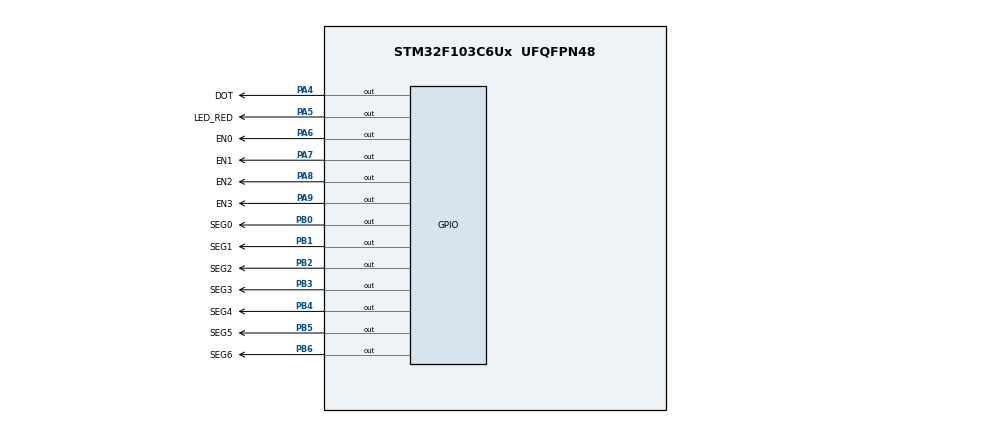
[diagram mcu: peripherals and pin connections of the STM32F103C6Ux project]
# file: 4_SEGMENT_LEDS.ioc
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Mcu.Family=STM32F1
Mcu.Name=STM32F103C6Ux
Mcu.Package=UFQFPN48
NVIC.PriorityGroup=NVIC_PRIORITYGROUP_4
NVIC.TIM2_IRQn=true\:0\:0\:false\:false\:true\:true\:true
PA4.GPIO_Label=DOT
PA4.Signal=GPIO_Output
PA5.GPIO_Label=LED_RED
PA5.Signal=GPIO_Output
PA6.GPIO_Label=EN0
PA6.Signal=GPIO_Output
PA7.GPIO_Label=EN1
PA7.Signal=GPIO_Output
PA8.GPIO_Label=EN2
PA8.Signal=GPIO_Output
PA9.GPIO_Label=EN3
PA9.Signal=GPIO_Output
PB0.GPIO_Label=SEG0
PB0.Signal=GPIO_Output
PB1.GPIO_Label=SEG1
PB1.Signal=GPIO_Output
PB2.GPIO_Label=SEG2
PB2.Signal=GPIO_Output
PB3.GPIO_Label=SEG3
PB3.Signal=GPIO_Output
PB4.GPIO_Label=SEG4
PB4.Signal=GPIO_Output
PB5.GPIO_Label=SEG5
PB5.Signal=GPIO_Output
PB6.GPIO_Label=SEG6
PB6.Signal=GPIO_Output
ProjectManager.HeapSize=0x200
ProjectManager.StackSize=0x400
ProjectManager.TargetToolchain=STM32CubeIDE
RCC.APB1Freq_Value=8000000
RCC.APB2Freq_Value=8000000
TIM2.Period=9
TIM2.Prescaler=7999
VP_SYS_VS_ND.Mode=No_Debug
VP_TIM2_VS_ClockSourceINT.Mode=Internal
board=custom

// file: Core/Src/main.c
/* USER CODE BEGIN Header */
/**
  ******************************************************************************
  * @file           : main.c
  * @brief          : Main program body
  ******************************************************************************
  * @attention
  *
  * <h2><center>&copy; Copyright (c) 2026 STMicroelectronics.
  * All rights reserved.</center></h2>
  *
  * This software component is licensed by ST under BSD 3-Clause license,
  * the "License"; You may not use this file except in compliance with the
  * License. You may obtain a copy of the License at:
  *                        opensource.org/licenses/BSD-3-Clause
  *
  ******************************************************************************
  */
/* USER CODE END Header */
#include "main.h"

TIM_HandleTypeDef htim2;

/* USER CODE BEGIN PV */
int timer_seg_counter = 50;  // 50 x 10ms = 500ms quét LED
int timer_dot_counter = 100; // 100 x 10ms = 1000ms chớp tắt DOT
int led_status = 0;
/* USER CODE END PV */

void SystemClock_Config(void);
static void MX_GPIO_Init(void);
static void MX_TIM2_Init(void);
/* USER CODE BEGIN PFP */
void display7SEG(int num);
/* USER CODE END PFP */

int main(void)
{

  /* MCU Configuration--------------------------------------------------------*/

  /* Reset of all peripherals, Initializes the Flash interface and the Systick. */
  HAL_Init();

  /* Configure the system clock */
  SystemClock_Config();

  /* Initialize all configured peripherals */
  MX_GPIO_Init();
  MX_TIM2_Init();
  /* USER CODE BEGIN 2 */
  // Turn off all four LEDs before the timer runs (pull up to logic level 1 to cut off the PNP transistors).
  HAL_GPIO_WritePin(GPIOA, EN0_Pin | EN1_Pin | EN2_Pin | EN3_Pin, GPIO_PIN_SET);

  HAL_TIM_Base_Start_IT(&htim2);
  /* USER CODE END 2 */

  /* Infinite loop */
  while (1)
  {

  }
}

void SystemClock_Config(void)
{
  RCC_OscInitTypeDef RCC_OscInitStruct = {0};
  RCC_ClkInitTypeDef RCC_ClkInitStruct = {0};

  /** Initializes the RCC Oscillators according to the specified parameters
  * in the RCC_OscInitTypeDef structure.
  */
  RCC_OscInitStruct.OscillatorType = RCC_OSCILLATORTYPE_HSI;
  RCC_OscInitStruct.HSIState = RCC_HSI_ON;
  RCC_OscInitStruct.HSICalibrationValue = RCC_HSICALIBRATION_DEFAULT;
  RCC_OscInitStruct.PLL.PLLState = RCC_PLL_NONE;
  if (HAL_RCC_OscConfig(&RCC_OscInitStruct) != HAL_OK)
  {
    Error_Handler();
  }
  /** Initializes the CPU, AHB and APB buses clocks
  */
  RCC_ClkInitStruct.ClockType = RCC_CLOCKTYPE_HCLK|RCC_CLOCKTYPE_SYSCLK
                              |RCC_CLOCKTYPE_PCLK1|RCC_CLOCKTYPE_PCLK2;
  RCC_ClkInitStruct.SYSCLKSource = RCC_SYSCLKSOURCE_HSI;
  RCC_ClkInitStruct.AHBCLKDivider = RCC_SYSCLK_DIV1;
  RCC_ClkInitStruct.APB1CLKDivider = RCC_HCLK_DIV1;
  RCC_ClkInitStruct.APB2CLKDivider = RCC_HCLK_DIV1;

  if (HAL_RCC_ClockConfig(&RCC_ClkInitStruct, FLASH_LATENCY_0) != HAL_OK)
  {
    Error_Handler();
  }
}

static void MX_TIM2_Init(void)
{

  TIM_ClockConfigTypeDef sClockSourceConfig = {0};
  TIM_MasterConfigTypeDef sMasterConfig = {0};

  htim2.Instance = TIM2;
  htim2.Init.Prescaler = 7999;
  htim2.Init.CounterMode = TIM_COUNTERMODE_UP;
  htim2.Init.Period = 9;
  htim2.Init.ClockDivision = TIM_CLOCKDIVISION_DIV1;
  htim2.Init.AutoReloadPreload = TIM_AUTORELOAD_PRELOAD_DISABLE;
  if (HAL_TIM_Base_Init(&htim2) != HAL_OK)
  {
    Error_Handler();
  }
  sClockSourceConfig.ClockSource = TIM_CLOCKSOURCE_INTERNAL;
  if (HAL_TIM_ConfigClockSource(&htim2, &sClockSourceConfig) != HAL_OK)
  {
    Error_Handler();
  }
  sMasterConfig.MasterOutputTrigger = TIM_TRGO_RESET;
  sMasterConfig.MasterSlaveMode = TIM_MASTERSLAVEMODE_DISABLE;
  if (HAL_TIMEx_MasterConfigSynchronization(&htim2, &sMasterConfig) != HAL_OK)
  {
    Error_Handler();
  }

}

static void MX_GPIO_Init(void)
{
  GPIO_InitTypeDef GPIO_InitStruct = {0};

  /* GPIO Ports Clock Enable */
  __HAL_RCC_GPIOA_CLK_ENABLE();
  __HAL_RCC_GPIOB_CLK_ENABLE();

  /*Configure GPIO pin Output Level */
  HAL_GPIO_WritePin(GPIOA, DOT_Pin|LED_RED_Pin|EN0_Pin|EN1_Pin
                          |EN2_Pin|EN3_Pin, GPIO_PIN_RESET);

  /*Configure GPIO pin Output Level */
  HAL_GPIO_WritePin(GPIOB, SEG0_Pin|SEG1_Pin|SEG2_Pin|SEG3_Pin
                          |SEG4_Pin|SEG5_Pin|SEG6_Pin, GPIO_PIN_RESET);

  /*Configure GPIO pins : DOT_Pin LED_RED_Pin EN0_Pin EN1_Pin
                           EN2_Pin EN3_Pin */
  GPIO_InitStruct.Pin = DOT_Pin|LED_RED_Pin|EN0_Pin|EN1_Pin
                          |EN2_Pin|EN3_Pin;
  GPIO_InitStruct.Mode = GPIO_MODE_OUTPUT_PP;
  GPIO_InitStruct.Pull = GPIO_NOPULL;
  GPIO_InitStruct.Speed = GPIO_SPEED_FREQ_LOW;
  HAL_GPIO_Init(GPIOA, &GPIO_InitStruct);

  /*Configure GPIO pins : SEG0_Pin SEG1_Pin SEG2_Pin SEG3_Pin
                           SEG4_Pin SEG5_Pin SEG6_Pin */
  GPIO_InitStruct.Pin = SEG0_Pin|SEG1_Pin|SEG2_Pin|SEG3_Pin
                          |SEG4_Pin|SEG5_Pin|SEG6_Pin;
  GPIO_InitStruct.Mode = GPIO_MODE_OUTPUT_PP;
  GPIO_InitStruct.Pull = GPIO_NOPULL;
  GPIO_InitStruct.Speed = GPIO_SPEED_FREQ_LOW;
  HAL_GPIO_Init(GPIOB, &GPIO_InitStruct);

}

/* USER CODE BEGIN 4 */
void display7SEG(int num){
	//On = 0, OFF =1
	uint8_t hex_code[10] = {0x40 , 0x79 , 0x24 , 0x30 , 0x19 , 0x12 ,0x02 , 0x78 , 0x00 , 0x10 };

	if (num<0 || num>9) return;
	uint8_t code = hex_code[num];
	// Using shifting bit & AND logic to isolate the state of each pin
		HAL_GPIO_WritePin(GPIOB , SEG0_Pin, (( code >> 0) & 0x01 ) ? GPIO_PIN_SET : GPIO_PIN_RESET ) ;
		HAL_GPIO_WritePin(GPIOB , SEG1_Pin, (( code >> 1) & 0x01 ) ? GPIO_PIN_SET : GPIO_PIN_RESET ) ;
		HAL_GPIO_WritePin(GPIOB , SEG2_Pin, (( code >> 2) & 0x01 ) ? GPIO_PIN_SET : GPIO_PIN_RESET ) ;
		HAL_GPIO_WritePin(GPIOB , SEG3_Pin, (( code >> 3) & 0x01 ) ? GPIO_PIN_SET : GPIO_PIN_RESET ) ;
		HAL_GPIO_WritePin(GPIOB , SEG4_Pin, (( code >> 4) & 0x01 ) ? GPIO_PIN_SET : GPIO_PIN_RESET ) ;
		HAL_GPIO_WritePin(GPIOB , SEG5_Pin, (( code >> 5) & 0x01 ) ? GPIO_PIN_SET : GPIO_PIN_RESET ) ;
		HAL_GPIO_WritePin(GPIOB , SEG6_Pin, (( code >> 6) & 0x01 ) ? GPIO_PIN_SET : GPIO_PIN_RESET ) ;

}

void HAL_TIM_PeriodElapsedCallback(TIM_HandleTypeDef *htim)
{
    if (htim->Instance == TIM2) {
        // 1. Manage the two central flashing DOT LEDs (controlled independently of the 7-segment scanning).
        timer_dot_counter--;
        if (timer_dot_counter <= 0) {
            timer_dot_counter = 100; // 1 giây đảo trạng thái 1 lần
            HAL_GPIO_TogglePin(DOT_GPIO_Port, DOT_Pin);
        }

        // 2. Sequentially scan four 7-segment LEDs every 500ms.
        timer_seg_counter--;
        if (timer_seg_counter <= 0) {
            timer_seg_counter = 50; // Chu kỳ 500ms

            // Turn off all 4 front LEDs to avoid ghosting.
            HAL_GPIO_WritePin(EN0_GPIO_Port, EN0_Pin, GPIO_PIN_SET);
            HAL_GPIO_WritePin(EN1_GPIO_Port, EN1_Pin, GPIO_PIN_SET);
            HAL_GPIO_WritePin(EN2_GPIO_Port, EN2_Pin, GPIO_PIN_SET);
            HAL_GPIO_WritePin(EN3_GPIO_Port, EN3_Pin, GPIO_PIN_SET);

            switch (led_status) {
                case 0:
                    display7SEG(1);
                    HAL_GPIO_WritePin(EN0_GPIO_Port, EN0_Pin, GPIO_PIN_RESET); //LED 1
                    led_status = 1;
                    break;
                case 1:
                    display7SEG(2);
                    HAL_GPIO_WritePin(EN1_GPIO_Port, EN1_Pin, GPIO_PIN_RESET); //LED 2
                    led_status = 2;
                    break;
                case 2:
                    display7SEG(3);
                    HAL_GPIO_WritePin(EN2_GPIO_Port, EN2_Pin, GPIO_PIN_RESET); // LED 3
                    led_status = 3;
                    break;
                case 3:
                    display7SEG(0);
                    HAL_GPIO_WritePin(EN3_GPIO_Port, EN3_Pin, GPIO_PIN_RESET); // LED 4
                    led_status = 0;
                    break;
            }
        }
    }
}
/* USER CODE END 4 */

void Error_Handler(void)
{
  __disable_irq();
  while (1)
  {
  }
}

/************************ (C) COPYRIGHT STMicroelectronics *****END OF FILE****/
